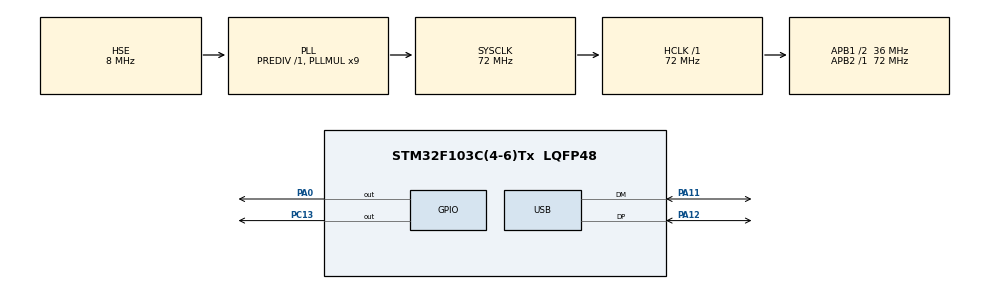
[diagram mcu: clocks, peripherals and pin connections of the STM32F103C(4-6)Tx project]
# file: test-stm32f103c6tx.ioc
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Dma.MEMTOMEM.1.Direction=DMA_MEMORY_TO_MEMORY
Dma.MEMTOMEM.1.Instance=DMA1_Channel1
Dma.MEMTOMEM.1.MemDataAlignment=DMA_MDATAALIGN_BYTE
Dma.MEMTOMEM.1.MemInc=DMA_MINC_DISABLE
Dma.MEMTOMEM.1.Mode=DMA_NORMAL
Dma.MEMTOMEM.1.PeriphDataAlignment=DMA_PDATAALIGN_BYTE
Dma.MEMTOMEM.1.PeriphInc=DMA_PINC_ENABLE
Dma.MEMTOMEM.1.Priority=DMA_PRIORITY_LOW
Dma.Request0=TIM2_UP
Dma.Request1=MEMTOMEM
Dma.TIM2_UP.0.Direction=DMA_PERIPH_TO_MEMORY
Dma.TIM2_UP.0.Instance=DMA1_Channel2
Dma.TIM2_UP.0.MemDataAlignment=DMA_MDATAALIGN_BYTE
Dma.TIM2_UP.0.MemInc=DMA_MINC_ENABLE
Dma.TIM2_UP.0.Mode=DMA_NORMAL
Dma.TIM2_UP.0.PeriphDataAlignment=DMA_PDATAALIGN_BYTE
Dma.TIM2_UP.0.PeriphInc=DMA_PINC_ENABLE
Dma.TIM2_UP.0.Priority=DMA_PRIORITY_LOW
Mcu.Family=STM32F1
Mcu.Name=STM32F103C(4-6)Tx
Mcu.Package=LQFP48
NVIC.DMA1_Channel2_IRQn=true\:0\:0\:false\:false\:true\:true\:true
NVIC.PriorityGroup=NVIC_PRIORITYGROUP_4
NVIC.USB_LP_CAN1_RX0_IRQn=true\:0\:0\:false\:false\:true\:false\:true
PA0-WKUP.Signal=GPIO_Output
PA11.Mode=Device
PA11.Signal=USB_DM
PA12.Mode=Device
PA12.Signal=USB_DP
PA13.Mode=Serial_Wire
PA13.Signal=SYS_JTMS-SWDIO
PA14.Mode=Serial_Wire
PA14.Signal=SYS_JTCK-SWCLK
PC13-TAMPER-RTC.PinState=GPIO_PIN_SET
PC13-TAMPER-RTC.Signal=GPIO_Output
PD0-OSC_IN.Mode=HSE-External-Oscillator
PD0-OSC_IN.Signal=RCC_OSC_IN
PD1-OSC_OUT.Mode=HSE-External-Oscillator
PD1-OSC_OUT.Signal=RCC_OSC_OUT
ProjectManager.HeapSize=0x200
ProjectManager.StackSize=0x400
ProjectManager.TargetToolchain=STM32CubeIDE
RCC.AHBFreq_Value=72000000
RCC.APB1CLKDivider=RCC_HCLK_DIV2
RCC.APB1Freq_Value=36000000
RCC.APB1TimFreq_Value=72000000
RCC.APB2Freq_Value=72000000
RCC.APB2TimFreq_Value=72000000
RCC.HCLKFreq_Value=72000000
RCC.PLLMUL=RCC_PLL_MUL9
RCC.SYSCLKFreq_VALUE=72000000
RCC.SYSCLKSource=RCC_SYSCLKSOURCE_PLLCLK
RCC.USBFreq_Value=48000000
RCC.USBPrescaler=RCC_USBCLKSOURCE_PLL_DIV1_5
TIM2.Period=1000
TIM2.Prescaler=32000
USB_DEVICE.CLASS_NAME_FS=CDC
USB_DEVICE.VirtualMode=Cdc
USB_DEVICE.VirtualModeFS=Cdc_FS
VP_TIM2_VS_ClockSourceINT.Mode=Internal
VP_USB_DEVICE_VS_USB_DEVICE_CDC_FS.Mode=CDC_FS
board=custom

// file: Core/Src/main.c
/* USER CODE BEGIN Header */
/**
 ******************************************************************************
 * @file           : main.c
 * @brief          : Main program body
 ******************************************************************************
 * @attention
 *
 * <h2><center>&copy; Copyright (c) 2020 STMicroelectronics.
 * All rights reserved.</center></h2>
 *
 * This software component is licensed by ST under BSD 3-Clause license,
 * the "License"; You may not use this file except in compliance with the
 * License. You may obtain a copy of the License at:
 *                        opensource.org/licenses/BSD-3-Clause
 *
 ******************************************************************************
 */
/* USER CODE END Header */

#include "main.h"
#include "usb_device.h"

/* USER CODE BEGIN Includes */
#include "usbd_cdc_if.h"
/* USER CODE END Includes */

TIM_HandleTypeDef htim2;
DMA_HandleTypeDef hdma_tim2_up;

DMA_HandleTypeDef hdma_memtomem_dma1_channel1;

void SystemClock_Config(void);
static void MX_GPIO_Init(void);
static void MX_DMA_Init(void);
static void MX_TIM2_Init(void);

/* USER CODE BEGIN 0 */

#define BUFFER_SIZE 5000
#define BYTES_COUNT 9
int8_t test_src_buffer[BUFFER_SIZE] = { 0x0 };
int8_t colors[BYTES_COUNT] = { 5, 0, 0, 0, 5, 0, 0, 0, 5 };

volatile uint32_t test_counter = 0;
static void TransferComplete(DMA_HandleTypeDef *DmaHandle) {
	test_counter += 1;
}

static void TransferError(DMA_HandleTypeDef *DmaHandle) {

}

/* USER CODE END 0 */

int main(void)
{

  /* MCU Configuration--------------------------------------------------------*/

  /* Reset of all peripherals, Initializes the Flash interface and the Systick. */
  HAL_Init();

  /* Configure the system clock */
  SystemClock_Config();

  /* Initialize all configured peripherals */
  MX_GPIO_Init();
  MX_DMA_Init();
  MX_USB_DEVICE_Init();
  MX_TIM2_Init();
  /* USER CODE BEGIN 2 */

	//HAL_TIM_Base_Start_IT(&htim2);
#define DATA_LENGTH 8
	uint8_t data[DATA_LENGTH] = { 1, 1, 2, 3, 5, 8, 13, 21 };

	for (int i = 0; i < BUFFER_SIZE; i++) {
		test_src_buffer[i] = 0x0;
	}

  /* USER CODE END 2 */

  /* Infinite loop */
	while (1) {

    /* USER CODE BEGIN 3 */
		HAL_GPIO_TogglePin(GPIOC, GPIO_PIN_13);
		uint8_t res = CDC_Transmit_FS(data, DATA_LENGTH);
		if (res != USBD_OK) {
			HAL_GPIO_TogglePin(GPIOC, GPIO_PIN_13);
			HAL_Delay(200);
			HAL_GPIO_TogglePin(GPIOC, GPIO_PIN_13);
		}

		HAL_Delay(1000);
	}
  /* USER CODE END 3 */
}

void SystemClock_Config(void)
{
  RCC_OscInitTypeDef RCC_OscInitStruct = {0};
  RCC_ClkInitTypeDef RCC_ClkInitStruct = {0};
  RCC_PeriphCLKInitTypeDef PeriphClkInit = {0};

  /** Initializes the CPU, AHB and APB busses clocks
  */
  RCC_OscInitStruct.OscillatorType = RCC_OSCILLATORTYPE_HSE;
  RCC_OscInitStruct.HSEState = RCC_HSE_ON;
  RCC_OscInitStruct.HSEPredivValue = RCC_HSE_PREDIV_DIV1;
  RCC_OscInitStruct.HSIState = RCC_HSI_ON;
  RCC_OscInitStruct.PLL.PLLState = RCC_PLL_ON;
  RCC_OscInitStruct.PLL.PLLSource = RCC_PLLSOURCE_HSE;
  RCC_OscInitStruct.PLL.PLLMUL = RCC_PLL_MUL9;
  if (HAL_RCC_OscConfig(&RCC_OscInitStruct) != HAL_OK)
  {
    Error_Handler();
  }
  /** Initializes the CPU, AHB and APB busses clocks
  */
  RCC_ClkInitStruct.ClockType = RCC_CLOCKTYPE_HCLK|RCC_CLOCKTYPE_SYSCLK
                              |RCC_CLOCKTYPE_PCLK1|RCC_CLOCKTYPE_PCLK2;
  RCC_ClkInitStruct.SYSCLKSource = RCC_SYSCLKSOURCE_PLLCLK;
  RCC_ClkInitStruct.AHBCLKDivider = RCC_SYSCLK_DIV1;
  RCC_ClkInitStruct.APB1CLKDivider = RCC_HCLK_DIV2;
  RCC_ClkInitStruct.APB2CLKDivider = RCC_HCLK_DIV1;

  if (HAL_RCC_ClockConfig(&RCC_ClkInitStruct, FLASH_LATENCY_2) != HAL_OK)
  {
    Error_Handler();
  }
  PeriphClkInit.PeriphClockSelection = RCC_PERIPHCLK_USB;
  PeriphClkInit.UsbClockSelection = RCC_USBCLKSOURCE_PLL_DIV1_5;
  if (HAL_RCCEx_PeriphCLKConfig(&PeriphClkInit) != HAL_OK)
  {
    Error_Handler();
  }
}

static void MX_TIM2_Init(void)
{

  TIM_ClockConfigTypeDef sClockSourceConfig = {0};
  TIM_MasterConfigTypeDef sMasterConfig = {0};

  htim2.Instance = TIM2;
  htim2.Init.Prescaler = 32000;
  htim2.Init.CounterMode = TIM_COUNTERMODE_UP;
  htim2.Init.Period = 1000;
  htim2.Init.ClockDivision = TIM_CLOCKDIVISION_DIV1;
  htim2.Init.AutoReloadPreload = TIM_AUTORELOAD_PRELOAD_DISABLE;
  if (HAL_TIM_Base_Init(&htim2) != HAL_OK)
  {
    Error_Handler();
  }
  sClockSourceConfig.ClockSource = TIM_CLOCKSOURCE_INTERNAL;
  if (HAL_TIM_ConfigClockSource(&htim2, &sClockSourceConfig) != HAL_OK)
  {
    Error_Handler();
  }
  sMasterConfig.MasterOutputTrigger = TIM_TRGO_RESET;
  sMasterConfig.MasterSlaveMode = TIM_MASTERSLAVEMODE_DISABLE;
  if (HAL_TIMEx_MasterConfigSynchronization(&htim2, &sMasterConfig) != HAL_OK)
  {
    Error_Handler();
  }

}

static void MX_DMA_Init(void)
{

  /* DMA controller clock enable */
  __HAL_RCC_DMA1_CLK_ENABLE();

  /* Configure DMA request hdma_memtomem_dma1_channel1 on DMA1_Channel1 */
  hdma_memtomem_dma1_channel1.Instance = DMA1_Channel1;
  hdma_memtomem_dma1_channel1.Init.Direction = DMA_MEMORY_TO_MEMORY;
  hdma_memtomem_dma1_channel1.Init.PeriphInc = DMA_PINC_ENABLE;
  hdma_memtomem_dma1_channel1.Init.MemInc = DMA_MINC_DISABLE;
  hdma_memtomem_dma1_channel1.Init.PeriphDataAlignment = DMA_PDATAALIGN_BYTE;
  hdma_memtomem_dma1_channel1.Init.MemDataAlignment = DMA_MDATAALIGN_BYTE;
  hdma_memtomem_dma1_channel1.Init.Mode = DMA_NORMAL;
  hdma_memtomem_dma1_channel1.Init.Priority = DMA_PRIORITY_LOW;
  if (HAL_DMA_Init(&hdma_memtomem_dma1_channel1) != HAL_OK)
  {
    Error_Handler( );
  }

  /* DMA interrupt init */
  /* DMA1_Channel2_IRQn interrupt configuration */
  HAL_NVIC_SetPriority(DMA1_Channel2_IRQn, 0, 0);
  HAL_NVIC_EnableIRQ(DMA1_Channel2_IRQn);

}

static void MX_GPIO_Init(void)
{
  GPIO_InitTypeDef GPIO_InitStruct = {0};

  /* GPIO Ports Clock Enable */
  __HAL_RCC_GPIOC_CLK_ENABLE();
  __HAL_RCC_GPIOD_CLK_ENABLE();
  __HAL_RCC_GPIOA_CLK_ENABLE();

  /*Configure GPIO pin Output Level */
  HAL_GPIO_WritePin(GPIOC, GPIO_PIN_13, GPIO_PIN_SET);

  /*Configure GPIO pin Output Level */
  HAL_GPIO_WritePin(GPIOA, GPIO_PIN_0, GPIO_PIN_RESET);

  /*Configure GPIO pin : PC13 */
  GPIO_InitStruct.Pin = GPIO_PIN_13;
  GPIO_InitStruct.Mode = GPIO_MODE_OUTPUT_PP;
  GPIO_InitStruct.Pull = GPIO_NOPULL;
  GPIO_InitStruct.Speed = GPIO_SPEED_FREQ_LOW;
  HAL_GPIO_Init(GPIOC, &GPIO_InitStruct);

  /*Configure GPIO pin : PA0 */
  GPIO_InitStruct.Pin = GPIO_PIN_0;
  GPIO_InitStruct.Mode = GPIO_MODE_OUTPUT_PP;
  GPIO_InitStruct.Pull = GPIO_NOPULL;
  GPIO_InitStruct.Speed = GPIO_SPEED_FREQ_LOW;
  HAL_GPIO_Init(GPIOA, &GPIO_InitStruct);

}

/* USER CODE BEGIN 4 */

/*uint32_t test_counter = 0;
 void HAL_TIM_PeriodElapsedCallback(TIM_HandleTypeDef *htim) {
 //HAL_GPIO_TogglePin(GPIOC, GPIO_PIN_13);
 test_counter += 1;
 if (test_counter > 2500000) {
 HAL_GPIO_TogglePin(GPIOC, GPIO_PIN_13);
 test_counter = 0;
 }
 }*/

/* USER CODE END 4 */

void Error_Handler(void)
{
  /* USER CODE BEGIN Error_Handler_Debug */
	/* User can add his own implementation to report the HAL error return state */
	GPIOC->ODR = 0xffff;
  /* USER CODE END Error_Handler_Debug */
}

/************************ (C) COPYRIGHT STMicroelectronics *****END OF FILE****/
